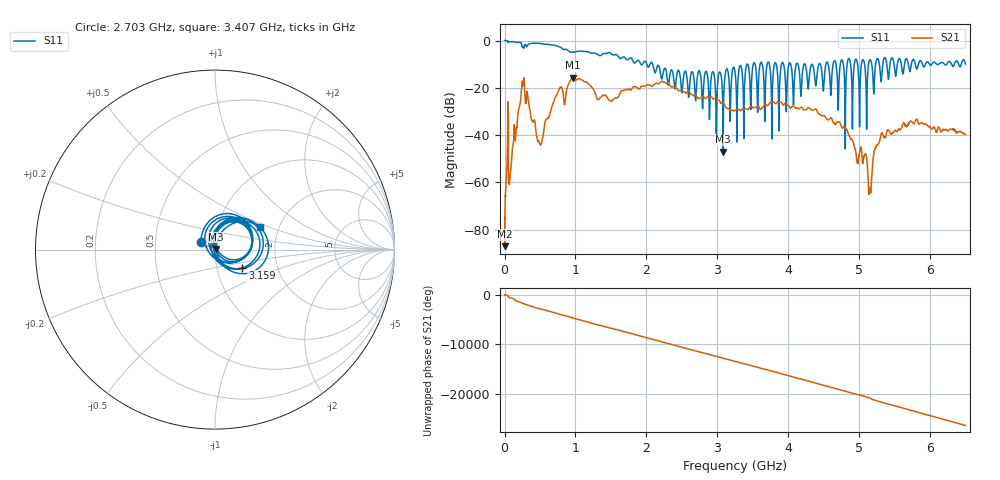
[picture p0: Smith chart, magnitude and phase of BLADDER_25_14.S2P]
!Keysight Technologies,E5063A,MY54503115,A.05.08
!Date: Sun Feb 04 18:41:09 2024
!Data & Calibration Information:
!Freq	S11:NONE(--)	S21:NONE(--)	S12:NONE(--)	S22:NONE(--)
# Hz S dB R 50
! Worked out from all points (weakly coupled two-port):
!   10001 points, 100 kHz to 6.5 GHz, reference 50 ohm
!   highest |S21| = -15.67 dB at 964.7 MHz (marker M1); lowest = -87.0 dB at 750 kHz (marker M2)
!   lowest |S11| = -47.0 dB at 3.083 GHz (marker M3), VSWR 1.01, Z = 50.3 + j0.319 ohm
!   |S11| at or under -10 dB: 2.089 GHz to 3.42 GHz (1.331 GHz wide, 48.3 % of centre); 4.239 GHz to 4.333 GHz (93.59 MHz wide, 2.18 % of centre); 4.337 GHz to 4.433 GHz (95.84 MHz wide, 2.19 % of centre) (the widest 3 of 33)
!   S12 and S22 are empty: the file has one direction only
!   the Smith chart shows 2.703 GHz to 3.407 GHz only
!   S11 on the Smith chart (normalised r, x): 2.703 GHz: 0.85, +0.07; 3.159 GHz: 1.33, -0.28; 3.407 GHz: 1.59, +0.43
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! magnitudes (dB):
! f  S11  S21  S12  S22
! 100 kHz  0.0  -85.5  -  -
! 750 kHz  0.0  -87.0  -  -
! 37.8 MHz  -0.2  -46.9  -  -
! 253.6 MHz  -2.8  -18.6  -  -
! 497.3 MHz  -1.2  -43.8  -  -
! 964.7 MHz  -4.8  -15.7  -  -
! 1.084 GHz  -4.6  -16.7  -  -
! 1.496 GHz  -5.4  -25.6  -  -
! 2.167 GHz  -10.4  -18.3  -  -
! 2.703 GHz  -21.2  -23.2  -  -
! 3.083 GHz  -47.0  -26.2  -  -
! 3.159 GHz  -14.7  -28.8  -  -
! 3.25 GHz  -13.3  -29.5  -  -
! 3.407 GHz  -11.1  -28.9  -  -
! 4.334 GHz  -10.0  -29.5  -  -
! 4.811 GHz  -22.0  -37.2  -  -
! 4.856 GHz  -7.6  -40.1  -  -
! 5.091 GHz  -14.4  -48.2  -  -
! 5.153 GHz  -8.1  -62.6  -  -
! 5.233 GHz  -10.0  -45.3  -  -
! 5.417 GHz  -16.1  -38.1  -  -
! 6.5 GHz  -9.9  -39.7  -  -
